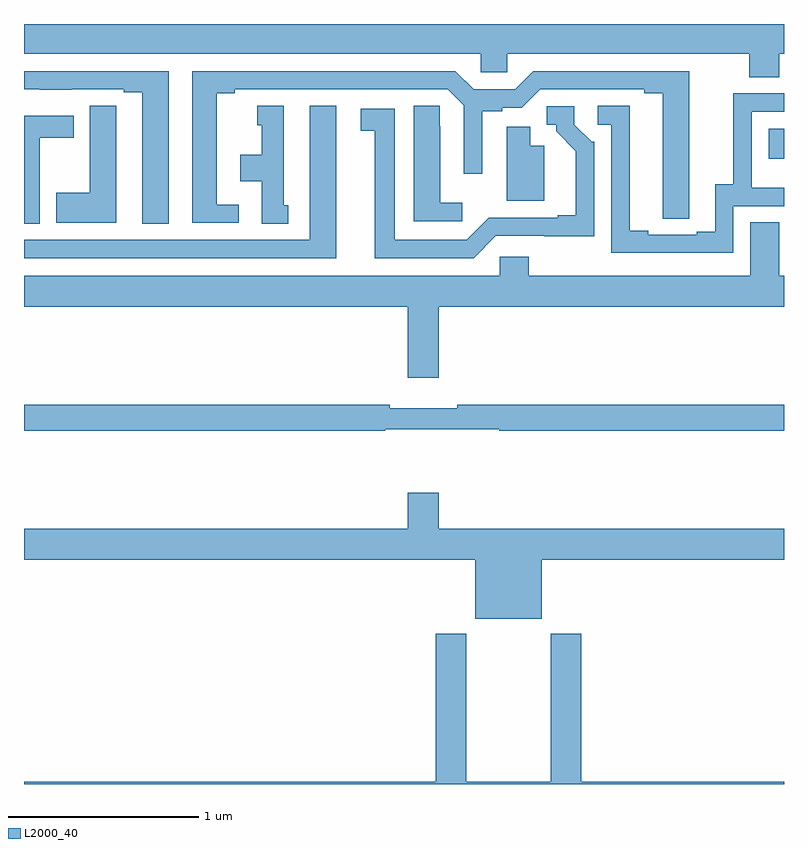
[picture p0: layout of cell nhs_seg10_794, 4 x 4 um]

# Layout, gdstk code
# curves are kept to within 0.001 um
import gdstk
lib = gdstk.Library(unit=1e-6, precision=1e-09)
def R(c, l, rs):  # rectangles x0, y0, x1, y1
    for r in rs: c.add(gdstk.rectangle(r[:2], r[2:], *l))
def P(c, l, *ps):  # polygons
    for p in ps: c.add(gdstk.Polygon(p, *l))
L2000_40 = (2000, 40)

nhs_seg10_794 = lib.new_cell('nhs_seg10_794')
R(nhs_seg10_794, L2000_40, [(154.92,1271.792,155,1271.95)])
P(nhs_seg10_794, L2000_40, [(154.976,1272.344),(155,1272.344),(155,1272.5),(151,1272.5),(151,1272.344),(153.405,1272.344),(153.405,1272.246),(153.543,1272.246),(153.543,1272.344),(154.816,1272.344),(154.816,1272.22),(154.976,1272.22)],
  [(152.131,1271.55),(152.014,1271.55),(152.014,1272.136),(152.11,1272.136),(152.11,1272.156),(153.231,1272.156),(153.315,1272.072),(153.315,1271.712),(153.412,1271.712),(153.412,1272.04),(153.516,1272.04),(153.516,1272.06),(153.621,1272.06),(153.717,1272.156),(154.265,1272.156),(154.265,1272.136),(154.361,1272.136),(154.361,1271.476),(154.5,1271.476),(154.501,1272.252),(153.681,1272.252),(153.585,1272.156),(153.367,1272.156),(153.271,1272.252),(151.886,1272.252),(151.886,1271.454),(152.131,1271.454)],
  [(151.762,1272.252),(151,1272.252),(151,1272.156),(151.084,1272.156),(151.084,1272.155),(151.25,1272.155),(151.25,1272.156),(151.526,1272.156),(151.526,1272.141),(151.622,1272.141),(151.622,1271.449),(151.762,1271.449)],
  [(154.734,1271.541),(155,1271.541),(155,1271.637),(154.832,1271.637),(154.832,1271.638),(154.83,1271.638),(154.83,1272.039),(155,1272.039),(155,1272.135),(154.732,1272.135),(154.732,1271.657),(154.637,1271.657),(154.637,1271.406),(154.541,1271.406),(154.541,1271.391),(154.285,1271.391),(154.285,1271.411),(154.189,1271.411),(154.189,1272.071),(154.02,1272.071),(154.02,1271.97),(154.092,1271.97),(154.092,1271.295),(154.734,1271.295)],
  [(151.486,1271.963),(151.485,1271.963),(151.485,1272.071),(151.346,1272.071),(151.346,1271.613),(151.169,1271.613),(151.169,1271.453),(151.486,1271.453)],
  [(153.307,1271.56),(153.19,1271.56),(153.19,1271.963),(153.189,1271.963),(153.189,1272.071),(153.05,1272.071),(153.05,1271.463),(153.307,1271.463)],
  [(152.392,1271.547),(152.368,1271.547),(152.368,1272.07),(152.228,1272.07),(152.228,1271.967),(152.252,1271.967),(152.252,1271.812),(152.138,1271.812),(152.138,1271.672),(152.252,1271.672),(152.252,1271.449),(152.392,1271.449)],
  [(152.644,1272.07),(152.504,1272.07),(152.504,1271.364),(151,1271.364),(151,1271.268),(152.644,1271.268)],
  [(153.483,1271.385),(154.002,1271.384),(154.002,1271.88),(153.987,1271.88),(153.897,1271.97),(153.897,1272.066),(153.75,1272.066),(153.75,1271.97),(153.8,1271.97),(153.8,1271.935),(153.905,1271.83),(153.905,1271.494),(153.809,1271.494),(153.809,1271.481),(153.447,1271.481),(153.33,1271.364),(152.95,1271.364),(152.95,1272.054),(152.772,1272.054),(152.772,1271.938),(152.846,1271.938),(152.846,1271.268),(153.366,1271.268)],
  [(151.084,1271.902),(151.261,1271.902),(151.261,1272.018),(151,1272.018),(151,1271.449),(151.084,1271.449)],
  [(153.739,1271.86),(153.664,1271.86),(153.664,1271.959),(153.542,1271.959),(153.542,1271.57),(153.739,1271.57)],
  [(153.184,1271.012),(155,1271.012),(155,1271.176),(154.976,1271.176),(154.976,1271.456),(154.823,1271.456),(154.823,1271.176),(153.656,1271.176),(153.656,1271.274),(153.504,1271.274),(153.504,1271.176),(151,1271.176),(151,1271.012),(153.02,1271.012),(153.02,1270.638),(153.184,1270.638)],
  [(152.902,1270.368),(153.502,1270.368),(153.502,1270.36),(155,1270.36),(155,1270.496),(153.28,1270.496),(153.28,1270.477),(152.924,1270.477),(152.924,1270.496),(151,1270.496),(151,1270.36),(152.902,1270.36)],
  [(153.724,1269.68),(155,1269.68),(155,1269.844),(153.184,1269.844),(153.184,1270.033),(153.02,1270.033),(153.02,1269.844),(151,1269.844),(151,1269.68),(153.374,1269.68),(153.374,1269.371),(153.724,1269.371)],
  [(155,1268.512),(153.932,1268.512),(153.932,1269.292),(153.772,1269.292),(153.772,1268.512),(153.327,1268.512),(153.327,1269.292),(153.167,1269.292),(153.167,1268.512),(151,1268.512),(151,1268.5),(155,1268.5)])

lib.write_gds('nhs_seg10_794.gds')
